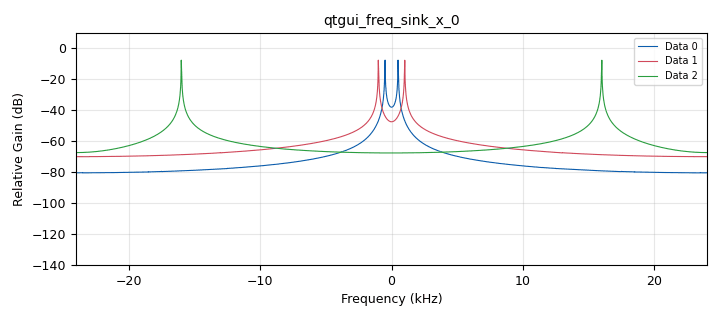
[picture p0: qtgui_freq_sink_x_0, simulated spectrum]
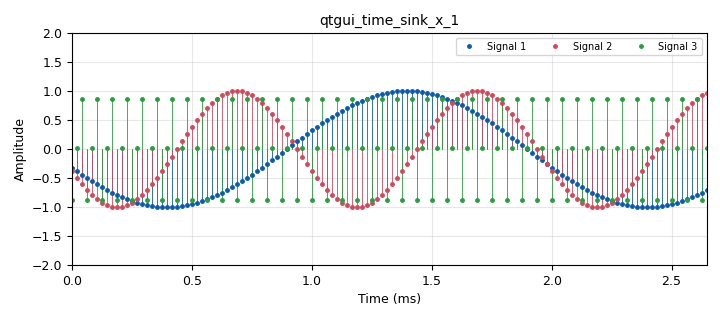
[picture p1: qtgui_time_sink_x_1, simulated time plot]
options:
  parameters:
    author: Jose_Delgado_Luis_Santos_C1C_G4
    generate_options: qt_gui
    id: Lab_C1C_jl
    output_language: python
    title: practica  1B
  states: {}

blocks:
- name: frequency
  id: variable_qtgui_range
  parameters:
    start: '1000'
    step: '1000'
    stop: '40000'
    value: '4000'
  states: {}
- name: samp_rate
  id: variable
  parameters:
    value: '48000'
  states: {}
- name: samp_rate
  id: variable_qtgui_range
  parameters:
    start: '1000'
    step: '1000'
    stop: '80000'
    value: '10000'
  states: {state: disabled}
- name: analog_sig_source_x_0
  id: analog_sig_source_x
  parameters:
    amp: '1'
    freq: frequency
    offset: '0'
    phase: '0'
    samp_rate: samp_rate
    type: float
    waveform: analog.GR_COS_WAVE
  states: {}
- name: analog_sig_source_x_0_0
  id: analog_sig_source_x
  parameters:
    amp: '1'
    freq: frequency
    offset: '0'
    phase: '0'
    samp_rate: samp_rate
    type: float
    waveform: analog.GR_COS_WAVE
  states: {}
- name: analog_sig_source_x_0_1
  id: analog_sig_source_x
  parameters:
    amp: '1'
    freq: frequency
    offset: '0'
    phase: '0'
    samp_rate: samp_rate
    type: float
    waveform: analog.GR_COS_WAVE
  states: {}
- name: blocks_throttle_0
  id: blocks_throttle
  parameters:
    samples_per_second: samp_rate
    type: float
  states: {}
- name: qtgui_freq_sink_x_0
  id: qtgui_freq_sink_x
  parameters:
    bw: samp_rate
    fc: '0'
    fftsize: '2048'
    nconnections: '3'
    type: float
    wintype: window.WIN_RECTANGULAR
  states: {}
- name: qtgui_time_sink_x_1
  id: qtgui_time_sink_x
  parameters:
    nconnections: '3'
    size: '128'
    srate: samp_rate
    stemplot: 'True'
    type: float
    ymax: '2'
    ymin: '-2'
  states: {}
- name: rational_resampler_xxx_0
  id: rational_resampler_xxx
  parameters:
    decim: '2'
    interp: '16'
    type: fff
  states: {}
- name: rational_resampler_xxx_1
  id: rational_resampler_xxx
  parameters:
    decim: '1'
    interp: '4'
    type: fff
  states: {}
- name: rational_resampler_xxx_2
  id: rational_resampler_xxx
  parameters:
    decim: '4'
    interp: '1'
    type: fff
  states: {}

connections:
- [analog_sig_source_x_0, '0', rational_resampler_xxx_2, '0']
- [analog_sig_source_x_0_0, '0', rational_resampler_xxx_0, '0']
- [analog_sig_source_x_0_1, '0', rational_resampler_xxx_1, '0']
- [blocks_throttle_0, '0', qtgui_freq_sink_x_0, '0']
- [blocks_throttle_0, '0', qtgui_time_sink_x_1, '0']
- [rational_resampler_xxx_0, '0', blocks_throttle_0, '0']
- [rational_resampler_xxx_1, '0', qtgui_freq_sink_x_0, '1']
- [rational_resampler_xxx_1, '0', qtgui_time_sink_x_1, '1']
- [rational_resampler_xxx_2, '0', qtgui_freq_sink_x_0, '2']
- [rational_resampler_xxx_2, '0', qtgui_time_sink_x_1, '2']

metadata:
  file_format: 1
